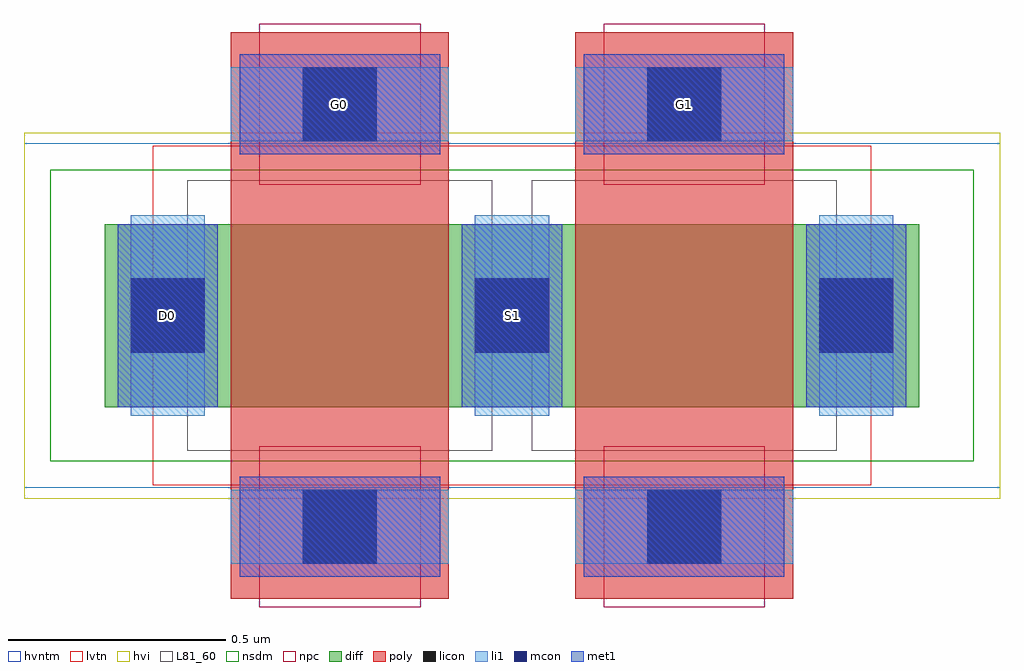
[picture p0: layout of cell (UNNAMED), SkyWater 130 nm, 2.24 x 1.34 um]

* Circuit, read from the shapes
.subckt (UNNAMED) D0 G0 G1 S1
XM1 S1 G0 D0 VSUBS sky130_fd_pr__nfet_05v0_nvt w=0.42 l=0.5
XM2 n1 G1 S1 VSUBS sky130_fd_pr__nfet_05v0_nvt w=0.42 l=0.5
.ends

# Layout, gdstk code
import gdstk
lib = gdstk.Library(unit=1e-6, precision=1e-09)
def R(c, l, rs):  # rectangles x0, y0, x1, y1
    for r in rs: c.add(gdstk.rectangle(r[:2], r[2:], *l))
def A(c, l, x, y, w, h, nx, ny, dx, dy):  # array of equal rectangles
    R(c, l, [(x+i*dx, y+j*dy, x+i*dx+w, y+j*dy+h) for i in range(nx) for j in range(ny)])
diff = (65, 20)
poly = (66, 20)
licon = (66, 44)
li1 = (67, 20)
mcon = (67, 44)
met1 = (68, 20)
hvi = (75, 20)
L81_60 = (81, 60)
nsdm = (93, 44)
npc = (95, 20)
hvntm = (125, 20)
lvtn = (125, 44)

c__unnamed_ = lib.new_cell('(UNNAMED)')
R(c__unnamed_, diff, [(-0.935,-0.21,0.935,0.21)])
R(c__unnamed_, poly, [(-0.645,-0.65,-0.145,0.65), (0.145,-0.65,0.645,0.65)])
A(c__unnamed_, licon, -0.875, -0.085, 0.17, 0.17, 3, 1, 0.79, 0)
R(c__unnamed_, licon, [(-0.48,-0.57,-0.31,-0.4), (0.31,-0.57,0.48,-0.4), (-0.48,0.4,-0.31,0.57), (0.31,0.4,0.48,0.57)])
A(c__unnamed_, li1, -0.875, -0.23, 0.17, 0.46, 3, 1, 0.79, 0)
R(c__unnamed_, li1, [(-0.645,-0.57,-0.145,-0.4), (0.145,-0.57,0.645,-0.4), (-0.645,0.4,-0.145,0.57), (0.145,0.4,0.645,0.57)])
A(c__unnamed_, mcon, -0.875, -0.085, 0.17, 0.17, 3, 1, 0.79, 0)
R(c__unnamed_, mcon, [(-0.48,-0.57,-0.31,-0.4), (0.31,-0.57,0.48,-0.4), (-0.48,0.4,-0.31,0.57), (0.31,0.4,0.48,0.57)])
A(c__unnamed_, met1, -0.905, -0.21, 0.23, 0.42, 3, 1, 0.79, 0)
R(c__unnamed_, met1, [(-0.625,-0.6,-0.165,-0.37), (0.165,-0.6,0.625,-0.37), (-0.625,0.37,-0.165,0.6), (0.165,0.37,0.625,0.6)])
R(c__unnamed_, hvi, [(-1.12,-0.42,1.12,0.42)])
R(c__unnamed_, L81_60, [(-0.745,-0.31,-0.045,0.31), (0.045,-0.31,0.745,0.31)])
R(c__unnamed_, nsdm, [(-1.06,-0.335,1.06,0.335)])
R(c__unnamed_, npc, [(-0.58,-0.67,-0.21,-0.3), (0.21,-0.67,0.58,-0.3), (-0.58,0.3,-0.21,0.67), (0.21,0.3,0.58,0.67)])
R(c__unnamed_, hvntm, [(-1.12,-0.395,1.12,0.395)])
R(c__unnamed_, lvtn, [(-0.825,-0.39,0.825,0.39)])
c__unnamed_.add(gdstk.Label('D0', (-0.79,0), layer=67, texttype=5))
c__unnamed_.add(gdstk.Label('G0', (-0.395,0.485), layer=67, texttype=5))
c__unnamed_.add(gdstk.Label('S1', (0,0), layer=67, texttype=5))
c__unnamed_.add(gdstk.Label('G1', (0.395,0.485), layer=67, texttype=5))

lib.write_gds('_UNNAMED_.gds')
